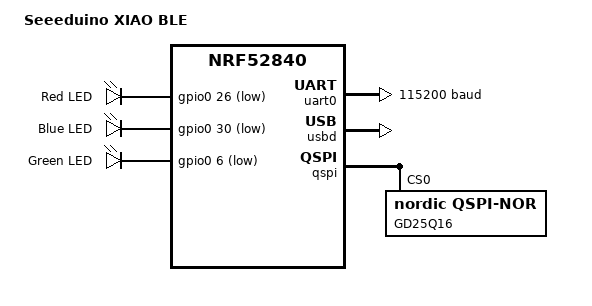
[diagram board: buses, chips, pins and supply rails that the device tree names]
/*
 * Copyright (c) 2022 Peter Johanson
 *
 * SPDX-License-Identifier: Apache-2.0
 */

/dts-v1/;
#include <nordic/nrf52840_qiaa.dtsi>
#include "seeeduino_xiao_ble-pinctrl.dtsi"
#include "seeed_xiao_connector.dtsi"

/ {
	model = "Seeeduino XIAO BLE";
	compatible = "seeed,xiao_ble";

	chosen {
		zephyr,console = &uart0;
		zephyr,shell-uart = &uart0;
		zephyr,uart-mcumgr = &uart0;
		zephyr,bt-mon-uart = &uart0;
		zephyr,bt-c2h-uart = &uart0;
		zephyr,sram = &sram0;
		zephyr,flash = &flash0;
		zephyr,code-partition = &code_partition;
	};

	/* These aliases are provided for compatibility with samples */
	aliases {
		led0 = &led0;
		led1 = &led1;
		led2 = &led2;
	};

	leds {
		compatible = "gpio-leds";
		led0: led_0 {
			gpios = <&gpio0 26 GPIO_ACTIVE_LOW>;
			label = "Red LED";
		};
		led1: led_1 {
			gpios = <&gpio0 30 GPIO_ACTIVE_LOW>;
			label = "Blue LED";
		};
		led2: led_2 {
			gpios = <&gpio0 6 GPIO_ACTIVE_LOW>;
			label = "Green LED";
		};
	};
};

&gpiote {
	status = "okay";
};

&gpio0 {
	status = "okay";
};

&gpio1 {
	status = "okay";
};

&uart0 {
	status = "okay";
	compatible = "nordic,nrf-uart";
	current-speed = <115200>;
	pinctrl-0 = <&uart0_default>;
	pinctrl-1 = <&uart0_sleep>;
	pinctrl-names = "default", "sleep";
};

&i2c0 {
	compatible = "nordic,nrf-twi";
	pinctrl-0 = <&i2c0_default>;
	pinctrl-1 = <&i2c0_sleep>;
	pinctrl-names = "default", "sleep";
};

&spi2 {
	compatible = "nordic,nrf-spi";
	pinctrl-0 = <&spi2_default>;
	pinctrl-1 = <&spi2_sleep>;
	pinctrl-names = "default", "sleep";
};

zephyr_udc0: &usbd {
	compatible = "nordic,nrf-usbd";
	status = "okay";
};

&qspi {
        status = "okay";
	pinctrl-0 = <&qspi_default>;
	pinctrl-1 = <&qspi_sleep>;
	pinctrl-names = "default", "sleep";
	// TODO: VERIFY THESE!
        gd25q16: gd25q16@0 {
                /* NOTE: Quad mode not supported as driver does not handle
                 * QE bit setting in SR2. Ref. GD25Q16C, Rev 3.0, p. 12.
                 */
                compatible = "nordic,qspi-nor";
                reg = <0>;
                writeoc = "pp2o";
                readoc = "read2io";
                sck-frequency = <16000000>;
                label = "GD25Q16";
                jedec-id = [c8 40 15];
                size = <2097152>;
                has-dpd;
                t-enter-dpd = <20000>;
                t-exit-dpd = <20000>;
        };
};


&flash0 {

	partitions {
		compatible = "fixed-partitions";
		#address-cells = <1>;
		#size-cells = <1>;

		sd_partition: partition@0 {
			label = "softdevice";
			reg = <0x00000000 0x00026000>;
		};

		code_partition: partition@27000 {
			label = "code_partition";
			reg = <0x00027000 0x000c5000>;
		};

		/*
		 * The flash starting at 0x000ec000 and ending at
		 * 0x000f3fff is reserved for use by the application.
		 */

		/*
		 * Storage partition will be used by FCB/LittleFS/NVS
		 * if enabled.
		 */
		storage_partition: partition@ec000 {
			label = "storage";
			reg = <0x000ec000 0x00008000>;
		};

		boot_partition: partition@f4000 {
			label = "adafruit_boot";
			reg = <0x000f4000 0x0000c000>;
		};
	};
};

